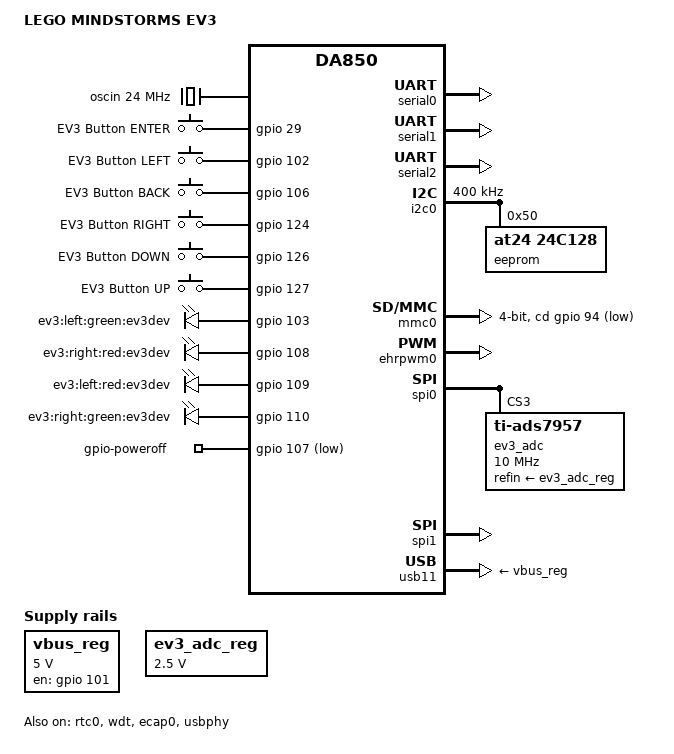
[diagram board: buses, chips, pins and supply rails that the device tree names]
/*
 * Device tree for LEGO MINDSTORMS EV3
 *
 * Copyright (C) 2016 David Lechner <david@lechnology.com>
 *
 * This program is free software; you can redistribute  it and/or modify it
 * under  the terms of  the GNU General  Public License as published by the
 * Free Software Foundation, version 2.
 */
/dts-v1/;
#include <dt-bindings/gpio/gpio.h>
#include <dt-bindings/input/linux-event-codes.h>
#include <dt-bindings/pwm/pwm.h>

#include "da850.dtsi"

/ {
	compatible = "lego,ev3", "ti,da850";
	model = "LEGO MINDSTORMS EV3";

	soc@1c00000 {
		clocks {
			/*
			 * This is the main clock that drives most of the other
			 * clocks.
			 */
			oscin: oscin {
				#clock-cells = <0>;
				compatible = "fixed-clock";
				clock-frequency = <24000000>;
			};

			/*
			 * scr_f2 and br_f7 are not actually clocks, but they
			 * are controlled in the same way and we are not using
			 * anything attached to them. (scr_f2 is uPP DMA, VPIF
			 * DMA, SATA and br_f7 is LCDC to DDR bridge) Declaring
			 * them here causes them to be automatically turned off
			 * by the clock framework to save power.
			 */

			scr_f2@227000 {
				#clock-cells = <0>;
				compatible = "ti,keystone,psc-clock";
				reg = <0x227000 0x1000>;
				clocks = <&pll0_sysclk2>;
				power-domain = <0>;
				module-domain = <26>;
			};

			br_f7@227000 {
				#clock-cells = <0>;
				compatible = "ti,keystone,psc-clock";
				reg = <0x227000 0x1000>;
				clocks = <&pll0_sysclk2>;
				power-domain = <0>;
				module-domain = <30>;
			};
		};

		/*
		 * (ab)using pinctrl-single to disable all internal pullups/
		 * pulldowns on I/O.
		 */
		pupd_ena@22c00c {
			compatible = "pinctrl-single";
			reg = <0x22c00c 0x4>;
			#address-cells = <1>;
			#size-cells = <0>;
			pinctrl-single,bit-per-mux;
			pinctrl-single,register-width = <32>;
			pinctrl-single,function-mask = <0xf>;
			/*
			 * There is a bug in pinctrl-single that prevents us
			 * from setting function-mask to 1, so doing things
			 * in groups of 4. Doesn't really matter since we are
			 * disabling all at once anyway.
			 */

			pinctrl-names = "default";
			pinctrl-0 = <&pupu_disable>;

			pupu_disable: pinmux_all_pins {
				pinctrl-single,bits = <
					0x0 0x00000000 0xffffffff
				>;
			};
		};
	};

	/*
	 * The buttons on the EV3 are mapped to keyboard keys.
	 */
	gpio_keys {
		compatible = "gpio-keys";
		#address-cells = <1>;
		#size-cells = <0>;
		label = "EV3 buttons";
		pinctrl-names = "default";
		pinctrl-0 = <&button_pins>;

		enter {
			label = "EV3 Button ENTER";
			linux,code = <KEY_ENTER>;
			/* GP1[13] */
			gpios = <&gpio 29 GPIO_ACTIVE_HIGH>;
		};
		left {
			label = "EV3 Button LEFT";
			linux,code = <KEY_LEFT>;
			/* GP6[6] */
			gpios = <&gpio 102 GPIO_ACTIVE_HIGH>;
		};
		back {
			label = "EV3 Button BACK";
			linux,code = <KEY_BACKSPACE>;
			/* GP6[10] */
			gpios = <&gpio 106 GPIO_ACTIVE_HIGH>;
		};
		right {
			label = "EV3 Button RIGHT";
			linux,code = <KEY_RIGHT>;
			/* GP7[12] */
			gpios = <&gpio 124 GPIO_ACTIVE_HIGH>;
		};
		down {
			label = "EV3 Button DOWN";
			linux,code = <KEY_DOWN>;
			/* GP7[14] */
			gpios = <&gpio 126 GPIO_ACTIVE_HIGH>;
		};
		up {
			label = "EV3 Button UP";
			linux,code = <KEY_UP>;
			/* GP7[15] */
			gpios = <&gpio 127 GPIO_ACTIVE_HIGH>;
		};
	};

	/*
	 * The EV3 has two built-in bi-color LEDs behind the buttons.
	 */
	leds {
		compatible = "gpio-leds";
		pinctrl-names = "default";
		pinctrl-0 = <&led_pins>;

		left_green {
			label = "ev3:left:green:ev3dev";
			/* GP6[7] */
			gpios = <&gpio 103 GPIO_ACTIVE_HIGH>;
			linux,default-trigger = "mmc0";
		};
		right_red {
			label = "ev3:right:red:ev3dev";
			/* GP6[12] */
			gpios = <&gpio 108 GPIO_ACTIVE_HIGH>;
			linux,default-trigger = "mmc0";
		};
		left_red {
			label = "ev3:left:red:ev3dev";
			/* GP6[13] */
			gpios = <&gpio 109 GPIO_ACTIVE_HIGH>;
			linux,default-trigger = "mmc0";
		};
		right_green {
			label = "ev3:right:green:ev3dev";
			/* GP6[14] */
			gpios = <&gpio 110 GPIO_ACTIVE_HIGH>;
			linux,default-trigger = "mmc0";
		};
	};

	/*
	 * The EV3 is powered down by turning off the main 5V supply.
	 */
	gpio-poweroff {
		compatible = "gpio-poweroff";
		/* low signal powers off the board */
		gpios = <&gpio 107 GPIO_ACTIVE_LOW>;
		pinctrl-names = "default";
		pinctrl-0 = <&system_power_pin>;
	};

	/*
	 * The USB 1.1 port VBUS (5V) regulator also feeds pin 4 on the input
	 * and output ports as well as powering the analog/digital converter.
	 * So, a short circuit on the input or output ports can trigger a USB
	 * over-current shutdown. Also, analog input won't work until it is
	 * reset.
	 */
	vbus_reg: vbus_reg {
		compatible = "regulator-fixed";
		regulator-name = "usb11-vbus-supply";
		regulator-min-microvolt = <5000000>;
		regulator-max-microvolt = <5000000>;
		gpio = <&gpio 101 GPIO_ACTIVE_LOW>;
		enable-active-high;
		pinctrl-names = "default";
		pinctrl-0 = <&usb11_pins>;
		status = "okay";
	};

	/*
	 * The Bluetooth chip requires a clock at 32768Hz. One of the PWMs
	 * is used to generate this signal.
	 */
	bt-slow-clock {
		status = "disabled";
		compatible = "pwm-clock";
		#clock-cells = <0>;
		clock-frequency = <32768>;
		clock-output-names = "slow_clk";
		pwms = <&ecap2 0 30517>;
	};

	/*
	 * This "regulator" is just a voltage divider on the 5V supply.
	 */
	ev3_adc_reg: adc-regulator {
		compatible = "regulator-fixed";
		regulator-name = "adc-regulator";
		regulator-min-microvolt = <2500000>;
		regulator-max-microvolt = <2500000>;
		regulator-always-on;
	};

	ev3-battery {
		compatible = "ev3dev,evb-battery";
		io-channels = <&ev3_adc 4>;
		io-channel-names = "voltage";
		status = "disabled";
	};

	evb-ports {
		compatible = "ev3dev,evb-ports";
		status = "disabled";

		in1 {
			pinctrl-names = "default";
			pinctrl-0 = <&in1_pins>;
			compatible = "ev3dev,evb-input-port";
			io-channels = <&ev3_adc 6>, <&ev3_adc 5>;
			io-channel-names = "pin1", "pin6";
			pin1-gpios = <&gpio 138 0>;
			pin2-gpios = <&gpio 34 0>;
			pin5-gpios = <&gpio 2 0>;
			pin6-gpios = <&gpio 15 0>;
			buf-ena-gpios = <&gpio 139 GPIO_ACTIVE_LOW>;
			ev3dev,tty-name = "ttyS1";
			status = "disabled";
		};

		in2 {
			pinctrl-names = "default";
			pinctrl-0 = <&in2_pins>;
			compatible = "ev3dev,evb-input-port";
			io-channels = <&ev3_adc 8>, <&ev3_adc 7>;
			io-channel-names = "pin1", "pin6";
			pin1-gpios = <&gpio 140 0>;
			pin2-gpios = <&gpio 143 0>;
			pin5-gpios = <&gpio 14 0>;
			pin6-gpios = <&gpio 13 0>;
			buf-ena-gpios = <&gpio 142 GPIO_ACTIVE_LOW>;
			ev3dev,tty-name = "ttyS0";
		};

		in3 {
			pinctrl-names = "default";
			pinctrl-0 = <&in3_pins>;
			compatible = "ev3dev,evb-input-port";
			io-channels = <&ev3_adc 9>, <&ev3_adc 10>;
			io-channel-names = "pin1", "pin6";
			pin1-gpios = <&gpio 137 0>;
			pin2-gpios = <&gpio 123 0>;
			pin5-gpios = <&gpio 12 0>;
			pin6-gpios = <&gpio 30 0>;
			buf-ena-gpios = <&gpio 121 GPIO_ACTIVE_LOW>;
			ev3dev,tty-name = "ttySU1";
		};

		in4 {
			pinctrl-names = "default";
			pinctrl-0 = <&in4_pins>;
			compatible = "ev3dev,evb-input-port";
			io-channels = <&ev3_adc 12>, <&ev3_adc 11>;
			io-channel-names = "pin1", "pin6";
			pin1-gpios = <&gpio 100 0>;
			pin2-gpios = <&gpio 120 0>;
			pin5-gpios = <&gpio 1 0>;
			pin6-gpios = <&gpio 31 0>;
			buf-ena-gpios = <&gpio 122 GPIO_ACTIVE_LOW>;
			ev3dev,tty-name = "ttySU0";
		};

		outA {
			pinctrl-names = "default";
			pinctrl-0 = <&outa_pins>;
			compatible = "ev3dev,evb-output-port";
			io-channels = <&ev3_adc 1>;
			io-channel-names = "pin5";
			pin1-gpios = <&gpio 63 0>;
			pin2-gpios = <&gpio 54 0>;
			pin5-det-gpios = <&gpio 84 0>;
			pin5-gpios = <&gpio 91 0>;
			pin6-gpios = <&gpio 4 0>;
			pwms = <&ehrpwm1 1 0 PWM_POLARITY_INVERTED>;
			pwm-names = "motor";
		};

		outB {
			pinctrl-names = "default";
			pinctrl-0 = <&outb_pins>;
			compatible = "ev3dev,evb-output-port";
			io-channels = <&ev3_adc 0>;
			io-channel-names = "pin5";
			pin1-gpios = <&gpio 33 0>;
			pin2-gpios = <&gpio 3 0>;
			pin5-det-gpios = <&gpio 37 0>;
			pin5-gpios = <&gpio 88 0>;
			pin6-gpios = <&gpio 41 0>;
			pwms = <&ehrpwm1 0 0 PWM_POLARITY_INVERTED>;
			pwm-names = "motor";
		};

		outC {
			pinctrl-names = "default";
			pinctrl-0 = <&outc_pins>;
			compatible = "ev3dev,evb-output-port";
			io-channels = <&ev3_adc 13>;
			io-channel-names = "pin5";
			pin1-gpios = <&gpio 104 0>;
			pin2-gpios = <&gpio 89 0>;
			pin5-det-gpios = <&gpio 56 0>;
			pin5-gpios = <&gpio 93 0>;
			pin6-gpios = <&gpio 62 0>;
			pwms = <&ecap0 0 0 PWM_POLARITY_INVERTED>;
			pwm-names = "motor";
		};

		outD {
			pinctrl-names = "default";
			pinctrl-0 = <&outd_pins>;
			compatible = "ev3dev,evb-output-port";
			io-channels = <&ev3_adc 14>;
			io-channel-names = "pin5";
			pin1-gpios = <&gpio 83 0>;
			pin2-gpios = <&gpio 90 0>;
			pin5-det-gpios = <&gpio 95 0>;
			pin5-gpios = <&gpio 105 0>;
			pin6-gpios = <&gpio 40 0>;
			pwms = <&ecap1 0 0 PWM_POLARITY_INVERTED>;
			pwm-names = "motor";
		};
	};

	ev3-sound {
		status = "disabled";
		pinctrl-names = "default";
		pinctrl-0 = <&sound_pins>;
		compatible = "ev3dev,evb-sound";
		enable-gpios = <&gpio 111 GPIO_ACTIVE_HIGH>;
		pwms = <&ehrpwm0 1 0 PWM_POLARITY_INVERTED>;
		pwm-names = "speaker";
	};
};

&intc {
	/*
	 * Need extra interrupts for iio triggers. There are 101 interrutps.
	 * The last 4 are for mcbsp which we aren't using anyway. Really, this
	 * needs to be fixed in the mach-davinci code or figure out how to
	 * enable CONFIG_SPARSE_IRQ.
	 */
	ti,intc-size = <97>;
};

&pmx_core {
	status = "okay";

	serial0_pins: pinmux_serial0_pins {
		pinctrl-single,bits = <
			/* UART0_TXD,UART0_RXD */
			0xc 0x00220000 0x00ff0000
		>;
	};
	serial1_pins: pinmux_serial1_pins {
		pinctrl-single,bits = <
			/* UART1_TXD,UART1_RXD */
			0x10 0x22000000 0xff000000
		>;
	};
	serial2_pins: pinmux_serial2_pins {
		pinctrl-single,bits = <
			/* UART2_CTS,UART2_RTS */
			0x0 0x44000000 0xff000000
			/* UART2_TXD,UART2_RXD */
			0x10 0x00220000 0x00ff0000
		>;
	};
	spi0_pins: pinmux_spi0_pins {
		pinctrl-single,bits = <
			/* CS3, SIMO, SOMI, CLK */
			0xc 0x01001101 0x0f00ff0f
			/* CS0 */
			0x10 0x00000010 0x000000f0
		>;
	};
	mmc0_cd_pin: pinmux_mmc0_cd {
		pinctrl-single,bits = <
			/* GP5[14] */
			0x2C 0x00000080 0x000000f0
		>;
	};
	button_pins: pinmux_button_pins {
		pinctrl-single,bits = <
			/* GP1[13] */
			0x8 0x00000800 0x00000f00
			/* GP6[10] */
			0x34 0x00800000 0x00f00000
			/* GP6[6] */
			0x38 0x00000080 0x000000f0
			/* GP7[12], GP7[14], GP7[15] */
			0x40 0x00808800 0x00f0ff00
		>;
	};
	led_pins: pinmux_led_pins {
		pinctrl-single,bits = <
			/* GP6[12], GP6[13], GP6[14] */
			0x34 0x00008880 0x0000fff0
			/* GP6[7] */
			0x38 0x00000008 0x0000000f
		>;
	};
	system_power_pin: pinmux_system_power {
		pinctrl-single,bits = <
			/* GP6[11] */
			0x34 0x00080000 0x000f0000
		>;
	};
	in1_pins: pinmux_in1_pins {
		pinctrl-single,bits = <
			/* GP0[15] */
			0x0 0x00000008 0x0000000f
			/* GP0[2] */
			0x4 0x00800000 0x00f00000
			/* GP2[2] */
			0x18 0x00800000 0x00f00000
			/* GP8[10], GP8[11] */
			0x48 0x88000000 0xff000000
		>;
	};
	in2_pins: pinmux_in2_pins {
		pinctrl-single,bits = <
			/* GP0[13], GP0[14] */
			0x0 0x00000880 0x00000ff0
			/* GP8[12], GP8[14], GP8[15] */
			0x48 0x00808800 0x00f0ff00
		>;
	};
	in3_pins: pinmux_in3_pins {
		pinctrl-single,bits = <
			/* GP0[12] */
			0x0 0x00008000 0x0000f000
			/* GP1[14] */
			0x8 0x00000080 0x000000f0
			/* GP7[11] */
			0x40 0x08000000 0x0f000000
			/* GP7[9] */
			0x44 0x00000008 0x0000000f
			/* GP8[9] */
			0x4c 0x00000008 0x0000000f
		>;
	};
	in4_pins: pinmux_in4_pins {
		pinctrl-single,bits = <
			/* GP0[1] */
			0x4 0x08000000 0x0f000000
			/* GP1[15] */
			0x8 0x00000008 0x0000000f
			/* GP7[10] */
			0x40 0x80000000 0xf0000000
			/* GP7[8] */
			0x44 0x00000080 0x000000f0
			/* GP6[4] */
			0x4c 0x00000800 0x00000f00
		>;
	};
	outa_pins: pinmux_outa_pins {
		pinctrl-single,bits = <
			/* GP0[4] */
			0x4 0x00008000 0x0000f000
			/* GP3[15] */
			0x1c 0x00000008 0x0000000f
			/* GP3[6] */
			0x20 0x00000080 0x000000f0
			/* GP5[11] */
			0x2c 0x00080000 0x000f0000
			/* GP5[4] */
			0x30 0x00008000 0x0000f000
		>;
	};
	outb_pins: pinmux_outb_pins {
		pinctrl-single,bits = <
			/* GP0[3] */
			0x4 0x00080000 0x000f0000
			/* GP2[9] */
			0x14 0x08000000 0x0f000000
			/* GP2[1], GP2[5] */
			0x18 0x08000800 0x0f000f00
			/* GP5[11] */
			0x2c 0x80000000 0xf0000000
		>;
	};
	outc_pins: pinmux_outc_pins {
		pinctrl-single,bits = <
			/* GP3[8], GP3[14] */
			0x1c 0x80000080 0xf00000f0
			/* GP5[9], GP5[13] */
			0x2c 0x08000800 0x0f000f00
			/* GP6[8] */
			0x34 0x80000000 0xf0000000
		>;
	};
	outd_pins: pinmux_outd_pins {
		pinctrl-single,bits = <
			/* GP2[8] */
			0x14 0x80000000 0xf0000000
			/* GP5[10], GP5[15] */
			0x2c 0x00800008 0x00f0000f
			/* GP5[3] */
			0x30 0x00080000 0x000f0000
			/* GP6[9] */
			0x34 0x08000000 0x0f000000
		>;
	};
	sound_pins: pinmux_sound_pins {
		pinctrl-single,bits = <
			/* GP6[15] */
			0x34 0x00000008 0x0000000f
		>;
	};
	usb11_pins: pinmux_usb11_pins {
		pinctrl-single,bits = <
			/* GP6[5] */
			0x40 0x00000080 0x000000f0
			/* GP6[3] */
			0x4c 0x00008000 0x0000f000
		>;
	};
};

/* Input port 2 */
&serial0 {
	status = "okay";
	pinctrl-names = "default";
	pinctrl-0 = <&serial0_pins>;
};

/* Input port 1 */
&serial1 {
	status = "okay";
	pinctrl-names = "default";
	pinctrl-0 = <&serial1_pins>;
};

/* Bluetooth */
&serial2 {
	status = "okay";
	pinctrl-names = "default";
	pinctrl-0 = <&serial2_pins>;
};

&rtc0 {
	status = "okay";
};

&i2c0 {
	status = "okay";
	clock-frequency = <400000>;
	pinctrl-names = "default";
	pinctrl-0 = <&i2c0_pins>;

	/*
	 * EEPROM contains the first stage bootloader, HW ID and Bluetooth MAC.
	 */
	eeprom@50 {
		compatible = "at24,24c128";
		pagesize = <64>;
		read-only;
		reg = <0x50>;
	};
};

&wdt {
	status = "okay";
};

&mmc0 {
	status = "okay";
	max-frequency = <50000000>;
	bus-width = <4>;
	cd-gpios = <&gpio 94 GPIO_ACTIVE_LOW>;
	cap-sd-highspeed;
	cap-mmc-highspeed;
	pinctrl-names = "default";
	pinctrl-0 = <&mmc0_pins &mmc0_cd_pin>;
};

&ehrpwm0 {
	status = "okay";
	pinctrl-names = "default";
	/* SOUND_ARMA */
	pinctrl-0 = <&ehrpwm0b_pins>;
};

&ehrpwm1 {
	status = "disabled";
	pinctrl-names = "default";
	/* MBPWM, MAPWM */
	pinctrl-0 = <&ehrpwm1a_pins &ehrpwm1b_pins>;
};

&ecap0 {
	status = "okay";
	pinctrl-names = "default";
	/* MCPWM */
	pinctrl-0 = <&ecap0_pins>;
};

&ecap1 {
	status = "disabled";
	pinctrl-names = "default";
	/* MDPWM */
	pinctrl-0 = <&ecap1_pins>;
};

&ecap2 {
	status = "disabled";
	pinctrl-names = "default";
	/* BTSLOWCLK */
	pinctrl-0 = <&ecap2_pins>;
};

&spi0 {
	status = "okay";
	pinctrl-names = "default";
	pinctrl-0 = <&spi0_pins>;

	ev3_adc: adc@3 {
		compatible = "ti-ads7957";
		reg = <3>;
		spi-max-frequency = <10000000>;
		refin-supply = <&ev3_adc_reg>;
		#io-channel-cells = <1>;
	};
};

&spi1 {
	status = "okay";
	pinctrl-names = "default";
	pinctrl-0 = <&spi1_pins &spi1_cs0_pin>;
};

&usbphy {
	status = "okay";
};

&usb11 {
	status = "okay";
	vbus-supply = <&vbus_reg>;
};

&gpio {
	status = "okay";
};
